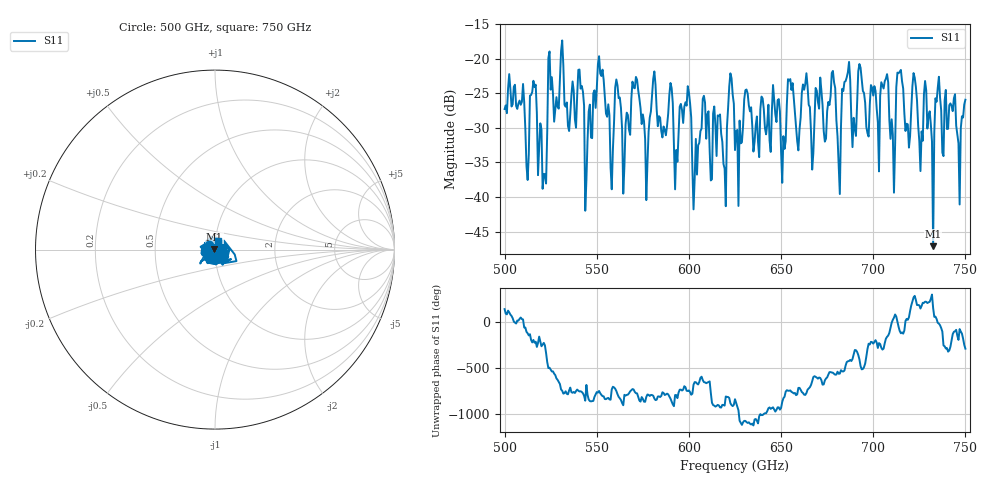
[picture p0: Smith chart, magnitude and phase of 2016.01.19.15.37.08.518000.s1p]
!Created with skrf (http://scikit-rf.org).
# GHz S RI R 50.0
!freq ReS11 ImS11
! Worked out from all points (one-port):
!   401 points, 500 GHz to 750 GHz, reference 50 ohm
!   lowest |S11| = -47.1 dB at 732.5 GHz (marker M1), VSWR 1.01, Z = 49.6 + j0.179 ohm
!   |S11| at or under -10 dB: start of sweep to end of sweep
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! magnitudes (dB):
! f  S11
! 500 GHz  -27.3
! 511.9 GHz  -35.5
! 515.6 GHz  -23.2
! 521.9 GHz  -36.7
! 525 GHz  -24.5
! 531.2 GHz  -17.4
! 541.2 GHz  -24.3
! 544.4 GHz  -37.6
! 551.9 GHz  -22.1
! 558.1 GHz  -38.9
! 562.5 GHz  -25.6
! 590 GHz  -23.5
! 593.8 GHz  -34.9
! 625 GHz  -33.2
! 651.2 GHz  -31.2
! 656.2 GHz  -23.5
! 666.9 GHz  -36.0
! 678.1 GHz  -21.8
! 681.2 GHz  -35.3
! 687.5 GHz  -23.1
! 706.9 GHz  -22.9
! 710.6 GHz  -31.0
! 714.4 GHz  -21.9
! 718.8 GHz  -29.5
! 722.5 GHz  -22.7
! 732.5 GHz  -47.1
! 735 GHz  -24.2
! 750 GHz  -25.9
